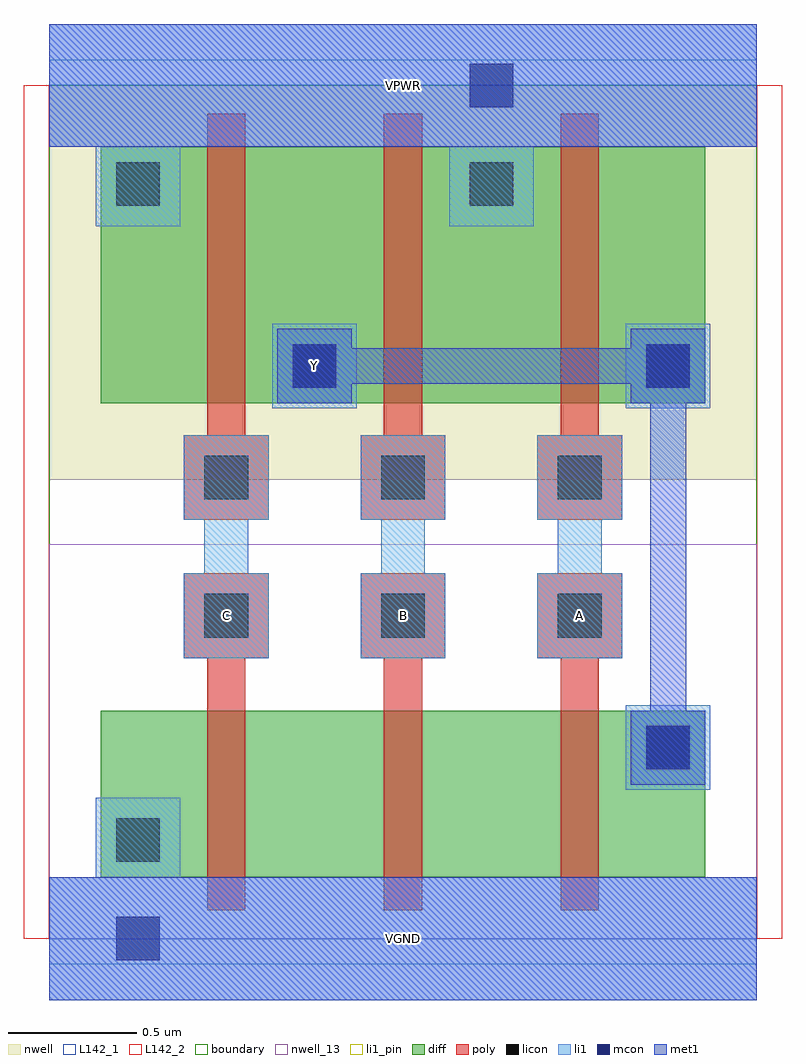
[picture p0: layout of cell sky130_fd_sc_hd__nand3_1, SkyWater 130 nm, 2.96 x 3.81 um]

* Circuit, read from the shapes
.subckt sky130_fd_sc_hd__nand3_1 A B C VGND VPWR Y
XM1 n1 C VGND VSUBS sky130_fd_pr__nfet_01v8 w=0.65 l=0.15
XM2 n2 B n1 VSUBS sky130_fd_pr__nfet_01v8 w=0.65 l=0.15
XM3 Y A n2 VSUBS sky130_fd_pr__nfet_01v8 w=0.65 l=0.15
XM4 Y C VPWR n3 sky130_fd_pr__pfet_01v8 w=1 l=0.15
XM5 VPWR B Y n3 sky130_fd_pr__pfet_01v8 w=1 l=0.15
XM6 Y A VPWR n3 sky130_fd_pr__pfet_01v8 w=1 l=0.15
.ends

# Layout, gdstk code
import gdstk
lib = gdstk.Library(unit=1e-6, precision=1e-09)
def R(c, l, rs):  # rectangles x0, y0, x1, y1
    for r in rs: c.add(gdstk.rectangle(r[:2], r[2:], *l))
def A(c, l, x, y, w, h, nx, ny, dx, dy):  # array of equal rectangles
    R(c, l, [(x+i*dx, y+j*dy, x+i*dx+w, y+j*dy+h) for i in range(nx) for j in range(ny)])
def P(c, l, *ps):  # polygons
    for p in ps: c.add(gdstk.Polygon(p, *l))
nwell_13 = (64, 13)
nwell = (64, 20)
diff = (65, 20)
poly = (66, 20)
licon = (66, 44)
li1_pin = (67, 16)
li1 = (67, 20)
mcon = (67, 44)
met1 = (68, 20)
L142_1 = (142, 1)
L142_2 = (142, 2)
boundary = (235, 4)

sky130_fd_sc_hd__nand3_1 = lib.new_cell('sky130_fd_sc_hd__nand3_1')
R(sky130_fd_sc_hd__nand3_1, nwell_13, [(0,0,2.76,1.54)])
R(sky130_fd_sc_hd__nand3_1, nwell, [(0,1.79,2.76,3.33)])
R(sky130_fd_sc_hd__nand3_1, diff, [(0.2,0.24,2.56,0.89), (0.2,0.24,0.615,0.89), (0.615,0.24,1.305,0.89), (1.305,0.24,1.995,0.89), (1.995,0.24,2.56,0.89), (0.2,2.09,2.56,3.09), (0.2,2.09,0.615,3.09), (0.615,2.09,1.305,3.09), (1.305,2.09,1.995,3.09), (1.995,2.09,2.56,3.09)])
P(sky130_fd_sc_hd__nand3_1, poly, [(1.305,0.11),(1.305,1.095),(1.215,1.095),(1.215,1.425),(1.545,1.425),(1.545,1.095),(1.455,1.095),(1.455,0.11)],
  [(1.215,1.635),(1.215,1.965),(1.305,1.965),(1.305,3.22),(1.455,3.22),(1.455,1.965),(1.545,1.965),(1.545,1.635)],
  [(0.615,0.11),(0.615,1.095),(0.525,1.095),(0.525,1.425),(0.855,1.425),(0.855,1.095),(0.765,1.095),(0.765,0.11)],
  [(0.525,1.635),(0.525,1.965),(0.615,1.965),(0.615,3.22),(0.765,3.22),(0.765,1.965),(0.855,1.965),(0.855,1.635)],
  [(1.995,0.11),(1.995,1.095),(1.905,1.095),(1.905,1.425),(2.235,1.425),(2.235,1.095),(2.145,1.095),(2.145,0.11)],
  [(1.905,1.635),(1.905,1.965),(1.995,1.965),(1.995,3.22),(2.145,3.22),(2.145,1.965),(2.235,1.965),(2.235,1.635)])
A(sky130_fd_sc_hd__nand3_1, licon, 0.605, 1.175, 0.17, 0.17, 3, 2, 0.69, 0.54)
R(sky130_fd_sc_hd__nand3_1, licon, [(0.26,0.3,0.43,0.47), (2.33,0.66,2.5,0.83), (0.95,2.15,1.12,2.32), (2.33,2.15,2.5,2.32), (0.26,2.86,0.43,3.03), (1.64,2.86,1.81,3.03)])
R(sky130_fd_sc_hd__nand3_1, li1_pin, [(0,-0.24,2.76,0.24), (0.87,2.07,1.2,2.4), (0,3.09,2.76,3.57)])
P(sky130_fd_sc_hd__nand3_1, li1_pin, [(1.905,1.095),(1.905,1.425),(1.985,1.425),(1.985,1.635),(1.905,1.635),(1.905,1.965),(2.235,1.965),(2.235,1.635),(2.155,1.635),(2.155,1.425),(2.235,1.425),(2.235,1.095)],
  [(1.215,1.095),(1.215,1.425),(1.295,1.425),(1.295,1.635),(1.215,1.635),(1.215,1.965),(1.545,1.965),(1.545,1.635),(1.465,1.635),(1.465,1.425),(1.545,1.425),(1.545,1.095)],
  [(0.525,1.095),(0.525,1.425),(0.605,1.425),(0.605,1.635),(0.525,1.635),(0.525,1.965),(0.855,1.965),(0.855,1.635),(0.775,1.635),(0.775,1.425),(0.855,1.425),(0.855,1.095)])
R(sky130_fd_sc_hd__nand3_1, li1, [(2.25,0.58,2.58,0.91), (0.87,2.07,1.2,2.4), (2.25,2.07,2.58,2.4)])
P(sky130_fd_sc_hd__nand3_1, li1, [(1.215,1.095),(1.215,1.425),(1.295,1.425),(1.295,1.635),(1.215,1.635),(1.215,1.965),(1.545,1.965),(1.545,1.635),(1.465,1.635),(1.465,1.425),(1.545,1.425),(1.545,1.095)],
  [(0.18,2.78),(0.18,3.09),(0,3.09),(0,3.57),(2.76,3.57),(2.76,3.09),(1.89,3.09),(1.89,2.78),(1.56,2.78),(1.56,3.09),(0.51,3.09),(0.51,2.78)],
  [(0.525,1.095),(0.525,1.425),(0.605,1.425),(0.605,1.635),(0.525,1.635),(0.525,1.965),(0.855,1.965),(0.855,1.635),(0.775,1.635),(0.775,1.425),(0.855,1.425),(0.855,1.095)],
  [(0,-0.24),(0,0.24),(0.18,0.24),(0.18,0.55),(0.51,0.55),(0.51,0.24),(2.76,0.24),(2.76,-0.24)],
  [(1.905,1.095),(1.905,1.425),(1.985,1.425),(1.985,1.635),(1.905,1.635),(1.905,1.965),(2.235,1.965),(2.235,1.635),(2.155,1.635),(2.155,1.425),(2.235,1.425),(2.235,1.095)])
R(sky130_fd_sc_hd__nand3_1, mcon, [(0.26,-0.085,0.43,0.085), (2.33,0.66,2.5,0.83), (0.95,2.15,1.12,2.32), (2.33,2.15,2.5,2.32), (1.64,3.245,1.81,3.415)])
R(sky130_fd_sc_hd__nand3_1, met1, [(0,-0.24,2.76,0.24), (0,3.09,2.76,3.57)])
P(sky130_fd_sc_hd__nand3_1, met1, [(2.27,0.6),(2.27,0.89),(2.345,0.89),(2.345,2.09),(2.27,2.09),(2.27,2.165),(1.18,2.165),(1.18,2.09),(0.89,2.09),(0.89,2.38),(1.18,2.38),(1.18,2.305),(2.27,2.305),(2.27,2.38),(2.56,2.38),(2.56,2.09),(2.485,2.09),(2.485,0.89),(2.56,0.89),(2.56,0.6)])
R(sky130_fd_sc_hd__nand3_1, L142_1, [(0,-0.1,2.76,0), (0,3.33,2.76,3.43)])
R(sky130_fd_sc_hd__nand3_1, L142_2, [(-0.1,0,0,3.33), (2.76,0,2.86,3.33)])
R(sky130_fd_sc_hd__nand3_1, boundary, [(0,0,2.76,3.33)])
sky130_fd_sc_hd__nand3_1.add(gdstk.Label('Y', (1.035,2.235), layer=67, texttype=5))
sky130_fd_sc_hd__nand3_1.add(gdstk.Label('A', (2.07,1.26), layer=67, texttype=5))
sky130_fd_sc_hd__nand3_1.add(gdstk.Label('B', (1.38,1.26), layer=67, texttype=5))
sky130_fd_sc_hd__nand3_1.add(gdstk.Label('C', (0.69,1.26), layer=67, texttype=5))
sky130_fd_sc_hd__nand3_1.add(gdstk.Label('VGND', (1.38,0), layer=67, texttype=5))
sky130_fd_sc_hd__nand3_1.add(gdstk.Label('VPWR', (1.38,3.33), layer=67, texttype=5))
sky130_fd_sc_hd__nand3_1.add(gdstk.Label('VGND', (1.38,0), layer=68, texttype=5))
sky130_fd_sc_hd__nand3_1.add(gdstk.Label('VPWR', (1.38,3.33), layer=68, texttype=5))

lib.write_gds('sky130_fd_sc_hd__nand3_1.gds')
